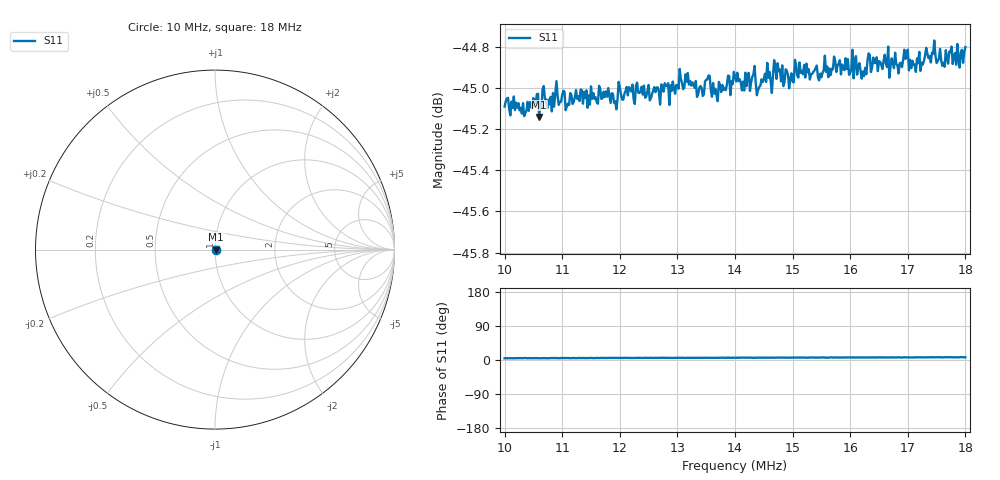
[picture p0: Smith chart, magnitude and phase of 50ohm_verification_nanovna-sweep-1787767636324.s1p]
! S11 from 50ohm_verification_nanovna-sweep-1787767636324.csv, converted by the rf-network-modeller history importer
# HZ S RI R 50
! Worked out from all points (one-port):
!   401 points, 10 MHz to 18 MHz, reference 50 ohm
!   lowest |S11| = -45.1 dB at 10.6 MHz (marker M1), VSWR 1.01, Z = 50.6 + j0.046 ohm
!   |S11| at or under -10 dB: start of sweep to end of sweep
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1e7  0.00555 0.000441
1.034e7  0.00551 0.000486
1.06e7  0.00551 0.000454
1.1e7  0.00558 0.000499
1.11e7  0.00555 0.000495
1.176e7  0.00559 0.000514
1.192e7  0.00556 0.000527
1.2e7  0.0056 0.000527
1.3e7  0.00561 0.000537
1.318e7  0.00564 0.000575
1.342e7  0.00559 0.00058
1.352e7  0.00562 0.00055
1.366e7  0.00559 0.000593
1.4e7  0.00563 0.000597
1.412e7  0.00558 0.000595
1.432e7  0.00564 0.000575
1.44e7  0.00558 0.000618
1.472e7  0.00562 0.000626
1.5e7  0.00561 0.000617
1.6e7  0.00564 0.000619
1.624e7  0.00562 0.00067
1.63e7  0.00567 0.000672
1.686e7  0.00566 0.000667
1.7e7  0.00571 0.000679
1.71e7  0.00566 0.000655
1.734e7  0.00569 0.000698
1.762e7  0.00566 0.000705
1.8e7  0.00571 0.000709
